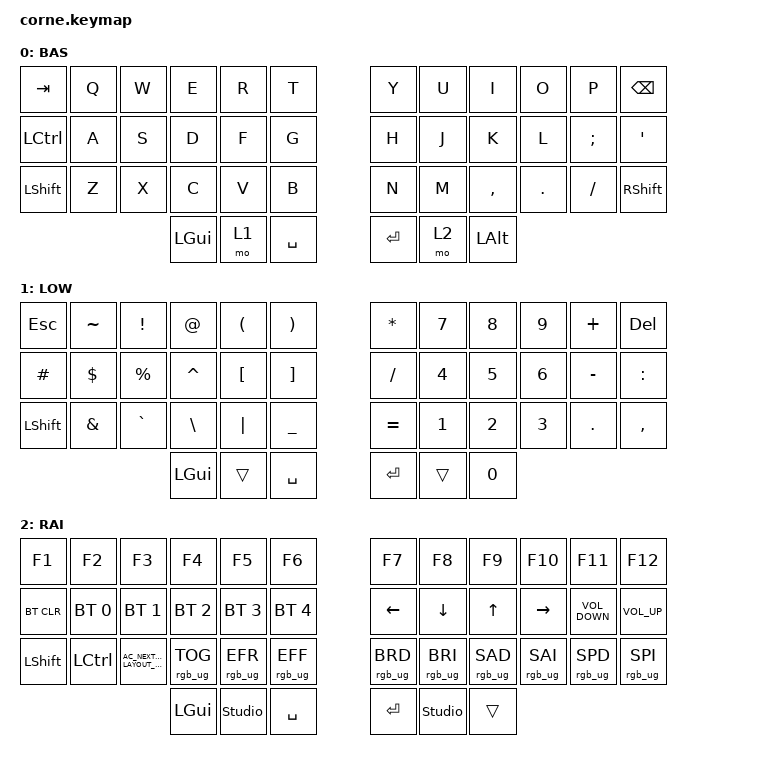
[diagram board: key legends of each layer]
/*
 * Copyright (c) 2020 The ZMK Contributors
 *
 * SPDX-License-Identifier: MIT
 */

#include <dt-bindings/led/led.h>
#include <dt-bindings/zmk/reset.h>
#include <behaviors.dtsi>
#include <dt-bindings/zmk/bt.h>
#include <dt-bindings/zmk/keys.h>
#include <dt-bindings/zmk/rgb.h>

&led_strip { chain-length = <27>; };

/ {
    keymap {
        compatible = "zmk,keymap";

        default_layer {
            display-name = "BAS";

            // -----------------------------------------------------------------------------------------
            // |  TAB |  Q  |  W  |  E  |  R  |  T  |   |  Y  |  U   |  I  |  O  |  P  | BKSP |
            // | CTRL |  A  |  S  |  D  |  F  |  G  |   |  H  |  J   |  K  |  L  |  ;  |  '   |
            // | SHFT |  Z  |  X  |  C  |  V  |  B  |   |  N  |  M   |  ,  |  .  |  /  | ESC  |
            //                    | GUI | LWR | SPC |   | ENT | RSE  | ALT |

            bindings = <
&kp TAB           &kp Q  &kp W  &kp E     &kp R  &kp T        &kp Y    &kp U  &kp I         &kp O    &kp P     &kp BACKSPACE
&kp LEFT_CONTROL  &kp A  &kp S  &kp D     &kp F  &kp G        &kp H    &kp J  &kp K         &kp L    &kp SEMI  &kp SQT
&kp LSHFT         &kp Z  &kp X  &kp C     &kp V  &kp B        &kp N    &kp M  &kp COMMA     &kp DOT  &kp FSLH  &kp RIGHT_SHIFT
                                &kp LGUI  &mo 1  &kp SPACE    &kp RET  &mo 2  &kp LEFT_ALT
            >;
        };

        lower_layer {
            display-name = "LOW";

            // -----------------------------------------------------------------------------------------
            // |  TAB |  1  |  2  |  3  |  4  |  5  |   |  6  |  7  |  8  |  9  |  0  | BKSP |
            // | BTCLR| BT1 | BT2 | BT3 | BT4 | BT5 |   | LFT | DWN |  UP | RGT |     |      |
            // | SHFT |     |     |     |     |     |   |     |     |     |     |     |      |
            //                    | GUI |     | SPC |   | ENT |     | ALT |

            bindings = <
&kp ESCAPE  &kp TILDE      &kp EXCLAMATION  &kp AT_SIGN    &kp LEFT_PARENTHESIS  &kp RIGHT_PARENTHESIS    &kp ASTERISK  &kp N7        &kp N8        &kp N9        &kp PLUS    &kp DELETE
&kp HASH    &kp DOLLAR     &kp PERCENT      &kp CARET      &kp LEFT_BRACKET      &kp RIGHT_BRACKET        &kp SLASH     &kp NUMBER_4  &kp NUMBER_5  &kp NUMBER_6  &kp MINUS   &kp COLON
&kp LSHFT   &kp AMPERSAND  &kp GRAVE        &kp BACKSLASH  &kp PIPE              &kp UNDERSCORE           &kp EQUAL     &kp NUMBER_1  &kp NUMBER_2  &kp NUMBER_3  &kp PERIOD  &kp COMMA
                                            &kp LGUI       &trans                &kp SPACE                &kp RET       &trans        &kp NUMBER_0
            >;
        };

        raise_layer {
            display-name = "RAI";

            // -----------------------------------------------------------------------------------------
            // |  TAB |  !  |  @  |  #  |  $  |  %  |   |  ^  |  &  |  *  |  (  |  )  | BKSP |
            // | CTRL |     |     |     |     |     |   |  -  |  =  |  [  |  ]  |  \  |  `   |
            // | SHFT |     |     |     |     |     |   |  _  |  +  |  {  |  }  | "|" |  ~   |
            //                    | GUI |     | SPC |   | ENT |     | ALT |

            bindings = <
&kp F1      &kp F2            &kp F3                                &kp F4           &kp F5           &kp F6             &kp F7           &kp F8           &kp F9           &kp F10          &kp F11            &kp F12
&bt BT_CLR  &bt BT_SEL 0      &bt BT_SEL 1                          &bt BT_SEL 2     &bt BT_SEL 3     &bt BT_SEL 4       &kp LEFT_ARROW   &kp DOWN_ARROW   &kp UP_ARROW     &kp RIGHT_ARROW  &kp C_VOLUME_DOWN  &kp C_VOLUME_UP
&kp LSHFT   &kp LEFT_CONTROL  &kp C_AC_NEXT_KEYBOARD_LAYOUT_SELECT  &rgb_ug RGB_TOG  &rgb_ug RGB_EFR  &rgb_ug RGB_EFF    &rgb_ug RGB_BRD  &rgb_ug RGB_BRI  &rgb_ug RGB_SAD  &rgb_ug RGB_SAI  &rgb_ug RGB_SPD    &rgb_ug RGB_SPI
                                                                    &kp LGUI         &studio_unlock   &kp SPACE          &kp RET          &studio_unlock   &trans
            >;
        };

        extra_1 { status = "reserved"; };

        extra_2 { status = "reserved"; };

        extra_3 { status = "reserved"; };
    };
};
